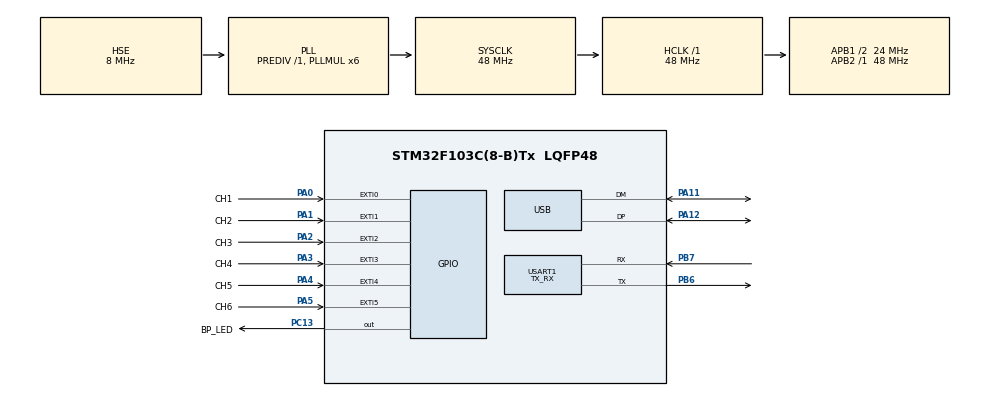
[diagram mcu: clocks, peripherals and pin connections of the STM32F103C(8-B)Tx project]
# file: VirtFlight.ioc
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Mcu.Family=STM32F1
Mcu.Name=STM32F103C(8-B)Tx
Mcu.Package=LQFP48
NVIC.EXTI0_IRQn=true\:0\:0\:false\:false\:true\:true\:true
NVIC.EXTI1_IRQn=true\:0\:0\:false\:false\:true\:true\:true
NVIC.EXTI2_IRQn=true\:0\:0\:false\:false\:true\:true\:true
NVIC.EXTI3_IRQn=true\:0\:0\:false\:false\:true\:true\:true
NVIC.EXTI4_IRQn=true\:0\:0\:false\:false\:true\:true\:true
NVIC.EXTI9_5_IRQn=true\:0\:0\:false\:false\:true\:true\:true
NVIC.PriorityGroup=NVIC_PRIORITYGROUP_4
NVIC.USART1_IRQn=true\:0\:0\:false\:false\:true\:true\:true
NVIC.USB_LP_CAN1_RX0_IRQn=true\:0\:0\:false\:false\:true\:false\:true
PA0-WKUP.GPIO_Label=CH1
PA0-WKUP.GPIO_ModeDefaultEXTI=GPIO_MODE_IT_RISING_FALLING
PA0-WKUP.GPIO_PuPd=GPIO_PULLDOWN
PA0-WKUP.Signal=GPXTI0
PA1.GPIO_Label=CH2
PA1.GPIO_ModeDefaultEXTI=GPIO_MODE_IT_RISING_FALLING
PA1.GPIO_PuPd=GPIO_PULLDOWN
PA1.Signal=GPXTI1
PA11.Mode=Device
PA11.Signal=USB_DM
PA12.Mode=Device
PA12.Signal=USB_DP
PA13.Mode=Serial_Wire
PA13.Signal=SYS_JTMS-SWDIO
PA14.Mode=Serial_Wire
PA14.Signal=SYS_JTCK-SWCLK
PA2.GPIO_Label=CH3
PA2.GPIO_ModeDefaultEXTI=GPIO_MODE_IT_RISING_FALLING
PA2.GPIO_PuPd=GPIO_PULLDOWN
PA2.Signal=GPXTI2
PA3.GPIO_Label=CH4
PA3.GPIO_ModeDefaultEXTI=GPIO_MODE_IT_RISING_FALLING
PA3.GPIO_PuPd=GPIO_PULLDOWN
PA3.Signal=GPXTI3
PA4.GPIO_Label=CH5
PA4.GPIO_ModeDefaultEXTI=GPIO_MODE_IT_RISING_FALLING
PA4.GPIO_PuPd=GPIO_PULLDOWN
PA4.Signal=GPXTI4
PA5.GPIO_Label=CH6
PA5.GPIO_ModeDefaultEXTI=GPIO_MODE_IT_RISING_FALLING
PA5.GPIO_PuPd=GPIO_PULLDOWN
PA5.Signal=GPXTI5
PB6.Mode=Asynchronous
PB6.Signal=USART1_TX
PB7.Mode=Asynchronous
PB7.Signal=USART1_RX
PC13-TAMPER-RTC.GPIO_Label=BP_LED
PC13-TAMPER-RTC.Signal=GPIO_Output
PD0-OSC_IN.Mode=HSE-External-Oscillator
PD0-OSC_IN.Signal=RCC_OSC_IN
PD1-OSC_OUT.Mode=HSE-External-Oscillator
PD1-OSC_OUT.Signal=RCC_OSC_OUT
ProjectManager.HeapSize=0x200
ProjectManager.StackSize=0x400
ProjectManager.TargetToolchain=Makefile
RCC.AHBFreq_Value=48000000
RCC.APB1CLKDivider=RCC_HCLK_DIV2
RCC.APB1Freq_Value=24000000
RCC.APB1TimFreq_Value=48000000
RCC.APB2Freq_Value=48000000
RCC.APB2TimFreq_Value=48000000
RCC.HCLKFreq_Value=48000000
RCC.PLLMUL=RCC_PLL_MUL6
RCC.PLLSourceVirtual=RCC_PLLSOURCE_HSE
RCC.SYSCLKFreq_VALUE=48000000
RCC.SYSCLKSource=RCC_SYSCLKSOURCE_PLLCLK
RCC.USBFreq_Value=48000000
TIM2.Period=0xffff
TIM2.Prescaler=47999
TIM3.Period=0xffff
TIM3.Prescaler=11
USART1.Mode=MODE_TX_RX
USART1.VirtualMode=VM_ASYNC
USB_DEVICE.CLASS_NAME_FS=HID
USB_DEVICE.MANUFACTURER_STRING=RP
USB_DEVICE.PRODUCT_STRING_HID_FS=VirtFlight
USB_DEVICE.VirtualMode=Hid
USB_DEVICE.VirtualModeFS=Hid_FS
VP_TIM2_VS_ClockSourceINT.Mode=Internal
VP_TIM3_VS_ClockSourceINT.Mode=Internal
VP_USB_DEVICE_VS_USB_DEVICE_HID_FS.Mode=HID_FS
board=custom

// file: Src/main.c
/* USER CODE BEGIN Header */
/**
  ******************************************************************************
  * @file           : main.c
  * @brief          : Main program body
  ******************************************************************************
  * @attention
  *
  * <h2><center>&copy; Copyright (c) 2020 STMicroelectronics.
  * All rights reserved.</center></h2>
  *
  * This software component is licensed by ST under Ultimate Liberty license
  * SLA0044, the "License"; You may not use this file except in compliance with
  * the License. You may obtain a copy of the License at:
  *                             www.st.com/SLA0044
  *
  ******************************************************************************
  */
/* USER CODE END Header */

#include "main.h"
#include "usb_device.h"

/* USER CODE BEGIN Includes */
#include "usbd_hid.h"
#include "stm32_hal_legacy.h"
#include "ibus.h"
/* USER CODE END Includes */

TIM_HandleTypeDef htim2;
TIM_HandleTypeDef htim3;

UART_HandleTypeDef huart1;

/* USER CODE BEGIN PV */
extern USBD_HandleTypeDef hUsbDeviceFS;

/* USER CODE END PV */

void SystemClock_Config(void);
static void MX_GPIO_Init(void);
static void MX_TIM3_Init(void);
static void MX_TIM2_Init(void);
static void MX_USART1_UART_Init(void);

/* USER CODE BEGIN 0 */

typedef uint16_t channel_t;

struct pwm {
	uint16_t       pin;
	GPIO_TypeDef   *port;
	channel_t      *channel;
	uint16_t       rising_cnt;
};

enum ppm_state {
	PPM_SYNCING_INIT, /* Waits for the first falling or rising edge */
	PPM_SYNCING,      /* Waits for long delay between impulses */
	PPM_COUNTING,     /* Counts channels */
	PPM_READY         /* PPM ready */
};

enum {
	PPM_IDLE_MS = 4,  /* Pause between PPM frames */
	NO_INPUT_MS = 20, /* If transmitter is off */

	NR_AXIS     = 10, /* How many axis joystick supports */
	NR_CHANNELS = 10, /* How many channels do we handle */
	NR_PWM_PINS = 6,  /* How many PWM pins do we have */
};

struct ppm {
	uint16_t       pin;
	GPIO_TypeDef   *port;
	channel_t      *channels;
	unsigned int   nr_channels;
	unsigned int   nr_edges;

	enum ppm_state state;
	uint16_t       edge_ms;
	uint16_t       edge_cnt;
};

enum input_state {
	PROBING,
	PPM_INPUT,
	PWM_INPUT,
	IBUS_INPUT,
	UNKNOWN_INPUT,
};

struct input {
	enum input_state state;
	struct pwm       pwm_pins[NR_PWM_PINS];
	struct ppm       ppm_pin;
	struct ibus      ibus;
	uint16_t         last_input_ms;
};

static channel_t channels[NR_CHANNELS];

static struct input input = {
	.state = PROBING,
	.pwm_pins = {
		[0] = {.pin = CH1_Pin, .port = CH1_GPIO_Port, .channel = &channels[0]},
		[1] = {.pin = CH2_Pin, .port = CH2_GPIO_Port, .channel = &channels[1]},
		[2] = {.pin = CH3_Pin, .port = CH3_GPIO_Port, .channel = &channels[2]},
		[3] = {.pin = CH4_Pin, .port = CH4_GPIO_Port, .channel = &channels[3]},
		[4] = {.pin = CH5_Pin, .port = CH5_GPIO_Port, .channel = &channels[4]},
		[5] = {.pin = CH6_Pin, .port = CH6_GPIO_Port, .channel = &channels[5]},
	},
	.ppm_pin = {
		.pin          = CH1_Pin,
		.port         = CH1_GPIO_Port,
		.channels     = channels,
		.nr_channels  = NR_CHANNELS,
	},
};

static inline void set_channel_width(channel_t *ch, uint16_t width)
{
	/* Clamp to [0, 4095] */
	if (width < 3900) {
		width = 0;
	} else {
		width -= 3900;
		if (width > 4095)
			width = 4095;
	}

	*ch = width;
}

static void handle_pwm_input(uint16_t pin)
{
	uint16_t cnt;
	int i;

	cnt = __HAL_TIM_GetCounter(&htim3);

	for (i = 0; i < NR_PWM_PINS; i++) {
		struct pwm *pwm = &input.pwm_pins[i];

		if (pwm->pin != pin)
			continue;

		if (HAL_GPIO_ReadPin(pwm->port, pwm->pin)) {
			pwm->rising_cnt = cnt;
		} else {
			/* Update channel */
			uint16_t width = cnt - pwm->rising_cnt;
			set_channel_width(pwm->channel, width);
		}
	}
}

static void handle_ppm_input(uint16_t pin)
{
	struct ppm *ppm = &input.ppm_pin;
	uint16_t diff_ms, cnt, ms;

	if (ppm->pin != pin)
		/* Not a PPM pin, just ignore */
		return;

	ms = __HAL_TIM_GetCounter(&htim2);
	cnt = __HAL_TIM_GetCounter(&htim3);

	switch (ppm->state) {
	case PPM_SYNCING_INIT:
		ppm->edge_ms = ms;
		ppm->state = PPM_SYNCING;
		break;
	case PPM_SYNCING:
		diff_ms = ms - ppm->edge_ms;
		ppm->edge_ms = ms;

		if (diff_ms < PPM_IDLE_MS)
			break;

		/* Got long enough idle, now count channels */
		ppm->nr_edges = 0;
		ppm->state = PPM_COUNTING;
		break;
	case PPM_COUNTING:
		diff_ms = ms - ppm->edge_ms;
		ppm->edge_ms = ms;
		ppm->nr_edges += 1;

		if (diff_ms < PPM_IDLE_MS)
			break;

		/* Got long enough idle, now decide what input we have */

		if (ppm->nr_edges & 1) {
			/* Can't be odd for any input */
			input.state = UNKNOWN_INPUT;
			ppm->state = PPM_SYNCING_INIT;
			break;
		}
		if (ppm->nr_edges == 2) {
			input.state = PWM_INPUT;
			ppm->state = PPM_SYNCING_INIT;
			break;
		}
		input.state = PPM_INPUT;
		ppm->state = PPM_READY;
		ppm->nr_edges = 0;
		ppm->edge_cnt = cnt;
		break;

	case PPM_READY:
		diff_ms = ms - ppm->edge_ms;
		ppm->edge_ms = ms;
		ppm->nr_edges += 1;

		if (diff_ms >= PPM_IDLE_MS) {
			ppm->nr_edges = 0;
			ppm->edge_cnt = cnt;
			break;
		}
		if (ppm->nr_edges % 2) {
			int i_ch = (ppm->nr_edges / 2) - 1;
			if (i_ch < ppm->nr_channels) {
				uint16_t width = cnt - ppm->edge_cnt;
				set_channel_width(&ppm->channels[i_ch], width);
			}
			ppm->edge_cnt = cnt;
			break;
		}
		break;

	default:
		Error_Handler();
		break;
	}
}

static void reset_input_to_probing(void)
{
	input.state = PROBING;
	input.ppm_pin.state = PPM_SYNCING_INIT;
};

static void check_no_input(void)
{
	uint16_t cnt_ms = __HAL_TIM_GetCounter(&htim2);

	/* Switch back to PROBING if no input has happened */
	if (input.state != PROBING) {
		uint16_t diff_ms = cnt_ms - input.last_input_ms;
		if (diff_ms >= NO_INPUT_MS)
			reset_input_to_probing();
	}
	input.last_input_ms = cnt_ms;
}

void HAL_GPIO_EXTI_Callback(uint16_t pin)
{
	check_no_input();

	switch (input.state) {
	case PROBING:
	case PPM_INPUT:
		handle_ppm_input(pin);
		break;
	case PWM_INPUT:
		handle_pwm_input(pin);
		break;
	default:
		break;
	}
}

void HAL_UART_RxCpltCallback(UART_HandleTypeDef *huart)
{
	check_no_input();

	switch (input.state) {
	case PROBING:
		input.state = IBUS_INPUT;
		ibus_init(&input.ibus, huart);
		/* fallthrough */
	case IBUS_INPUT:
		handle_ibus_input(&input.ibus);
		break;
	default:
		break;
	}
}

static void USBD_HID_WaitForSend(USBD_HandleTypeDef *dev)
{
	volatile USBD_HID_HandleTypeDef *hhid =
		(volatile USBD_HID_HandleTypeDef *)dev->pClassData;

	while (hhid->state == HID_BUSY)
		;
}

struct joystick_report {
	uint8_t  report_id;
	uint16_t axis[NR_AXIS];
	uint8_t  buttons:3;
	uint8_t  padding:5;
} __attribute__((packed));

static void fill_channels_from_ibus(struct ibus *ibus,
									channel_t *channels,
									size_t nr)
{
	int i;

	ibus_get_channels(ibus, channels, nr);

	/* Normalize to [0, 4000] */
	for (i = 0; i < nr; i++) {
		channel_t ch = channels[i];

		ch  = ch < 1000 ? 0 : ch - 1000;
		ch *= 4;
		ch  = ch > 4000 ? 4000 : ch;
		channels[i] = ch;
	}
}

static void Send_JoystickReport(void)
{
	  struct joystick_report joystick = {
		  .report_id = HID_JOYSTICK_REPORT_ID
	  };
	  int i, nr;

	  if (input.state == IBUS_INPUT)
		  fill_channels_from_ibus(&input.ibus, channels, NR_CHANNELS);

	  nr = NR_AXIS < NR_CHANNELS ? NR_AXIS : NR_CHANNELS;
	  for (i = 0; i < nr; i++)
		  joystick.axis[i] = channels[i];

	  USBD_HID_WaitForSend(&hUsbDeviceFS);
	  USBD_HID_SendReport(&hUsbDeviceFS, (uint8_t*)&joystick,
						  sizeof(joystick));
}

struct keyboard_report {
	uint8_t report_id;
	uint8_t keys[8];
};

static void Send_Key(uint8_t keycode)
{
	struct keyboard_report keyboard = {
		.report_id = HID_KEYBOARD_REPORT_ID
	};

	keyboard.keys[2] = keycode;

	USBD_HID_WaitForSend(&hUsbDeviceFS);
	USBD_HID_SendReport(&hUsbDeviceFS, (uint8_t*)&keyboard,
						sizeof(keyboard));
}

static void PressAndRelease_Key(channel_t *ch, uint8_t *sent,
								uint8_t keycode)
{
	if (*ch >= 1500 && !*sent) {
		/* Press a key */
		Send_Key(keycode);
		/* Release a key */
		Send_Key(0x00);

		*sent = 1;

	} else if (*ch < 1500 && *sent) {
		*sent = 0;
	}
}

static void PressOrRelease_Key(channel_t *ch, uint8_t *pressed,
							   uint8_t keycode)
{
	if (*ch >= 1500) {
		/* Press a key many times */
		Send_Key(keycode);

		*pressed = 1;

	} else if (*ch < 1500 && *pressed) {
		/* Release a key once */
		Send_Key(0x00);

		*pressed = 0;
	}
}

/*
 * We map 5'th channel for 't' key
 */
static void Handle_T_Key(void)
{
	static uint8_t t_sent;

	PressAndRelease_Key(&channels[4], &t_sent, 0x17);
}

/*
 * We map 5'th channel for 'y' key
 */
static void Handle_Y_Key(void)
{
	static uint8_t y_pressed;

	PressOrRelease_Key(&channels[4], &y_pressed, 0x1c);
}

/*
 * We map 6'th channel for 'r' key
 */
static void Handle_R_Key(void)
{
	static uint8_t r_sent;

	PressAndRelease_Key(&channels[5], &r_sent, 0x15);
}

static void Send_KeyboardReport(void)
{
	/* Either T, either Y */
	Handle_T_Key();
	(void)Handle_Y_Key;

	Handle_R_Key();
}

static void Status_Blink(void)
{
	static uint16_t prev_ms;
	static int state;
	static int init;

	uint16_t ms, diff_ms;

	if (!init) {
		prev_ms = __HAL_TIM_GetCounter(&htim2);
		init = 1;
	}
	ms = __HAL_TIM_GetCounter(&htim2);
	diff_ms = ms - prev_ms;

	switch (input.state) {
	case PROBING:
		/* short blinks */

		if (diff_ms >= 200) {
			HAL_GPIO_TogglePin(BP_LED_GPIO_Port, BP_LED_Pin);
			prev_ms = ms;
		}
		break;

	case PWM_INPUT:
		/* long blinks */

		if (diff_ms >= 1000) {
			HAL_GPIO_TogglePin(BP_LED_GPIO_Port, BP_LED_Pin);
			prev_ms = ms;
		}
		break;

	case PPM_INPUT:
	case IBUS_INPUT:
		/* PPM:  2 short blinks */
		/* IBUS: 3 short blinks */

		if (!state) {
			/* 1s off */
			HAL_GPIO_WritePin(BP_LED_GPIO_Port, BP_LED_Pin, GPIO_PIN_SET);
			state = 1;
		} else if (state == 1 && diff_ms >= 1000) {
			/* 0.2s on */
			HAL_GPIO_WritePin(BP_LED_GPIO_Port, BP_LED_Pin, GPIO_PIN_RESET);
			prev_ms = ms;
			state = 2;
		} else if ((state == 2 || state == 4) && diff_ms >= 200) {
			/* 0.2s off */
			HAL_GPIO_WritePin(BP_LED_GPIO_Port, BP_LED_Pin, GPIO_PIN_SET);
			prev_ms = ms;
			state += 1;
		} else if ((state == 3 || state == 5) && diff_ms >= 200) {
			/* 0.2s on */
			HAL_GPIO_WritePin(BP_LED_GPIO_Port, BP_LED_Pin, GPIO_PIN_RESET);
			prev_ms = ms;

			if (input.state == PPM_INPUT)
				state = 6;
			else
				state += 1;
		} else if (state == 6 && diff_ms >= 200) {
			/* repeat */
			state = 0;
			prev_ms = ms;
		}
		break;

	default:
		Error_Handler();
	}
}

/* USER CODE END 0 */

int main(void)
{

  /* MCU Configuration--------------------------------------------------------*/

  /* Reset of all peripherals, Initializes the Flash interface and the Systick. */
  HAL_Init();

  /* Configure the system clock */
  SystemClock_Config();

  /* Initialize all configured peripherals */
  MX_GPIO_Init();
  MX_USB_DEVICE_Init();
  MX_TIM3_Init();
  MX_TIM2_Init();
  MX_USART1_UART_Init();
  /* USER CODE BEGIN 2 */

  if (HAL_TIM_Base_Start(&htim3))
	  Error_Handler();

  if (HAL_TIM_Base_Start_IT(&htim2))
	  Error_Handler();

  ibus_init(&input.ibus, &huart1);

  /* USER CODE END 2 */

  /* Infinite loop */
  /* USER CODE BEGIN WHILE */

  /* Turn led off */
  HAL_GPIO_WritePin(BP_LED_GPIO_Port, BP_LED_Pin, GPIO_PIN_SET);

  while (1)
  {
    /* USER CODE END WHILE */

    /* USER CODE BEGIN 3 */
	  Send_JoystickReport();
	  /* Send_KeyboardReport(); */
	  (void)Send_KeyboardReport;
	  Status_Blink();
	  HAL_Delay(10);
  }
  /* USER CODE END 3 */
}

void SystemClock_Config(void)
{
  RCC_OscInitTypeDef RCC_OscInitStruct = {0};
  RCC_ClkInitTypeDef RCC_ClkInitStruct = {0};
  RCC_PeriphCLKInitTypeDef PeriphClkInit = {0};

  /** Initializes the CPU, AHB and APB busses clocks
  */
  RCC_OscInitStruct.OscillatorType = RCC_OSCILLATORTYPE_HSE;
  RCC_OscInitStruct.HSEState = RCC_HSE_ON;
  RCC_OscInitStruct.HSEPredivValue = RCC_HSE_PREDIV_DIV1;
  RCC_OscInitStruct.HSIState = RCC_HSI_ON;
  RCC_OscInitStruct.PLL.PLLState = RCC_PLL_ON;
  RCC_OscInitStruct.PLL.PLLSource = RCC_PLLSOURCE_HSE;
  RCC_OscInitStruct.PLL.PLLMUL = RCC_PLL_MUL6;
  if (HAL_RCC_OscConfig(&RCC_OscInitStruct) != HAL_OK)
  {
    Error_Handler();
  }
  /** Initializes the CPU, AHB and APB busses clocks
  */
  RCC_ClkInitStruct.ClockType = RCC_CLOCKTYPE_HCLK|RCC_CLOCKTYPE_SYSCLK
                              |RCC_CLOCKTYPE_PCLK1|RCC_CLOCKTYPE_PCLK2;
  RCC_ClkInitStruct.SYSCLKSource = RCC_SYSCLKSOURCE_PLLCLK;
  RCC_ClkInitStruct.AHBCLKDivider = RCC_SYSCLK_DIV1;
  RCC_ClkInitStruct.APB1CLKDivider = RCC_HCLK_DIV2;
  RCC_ClkInitStruct.APB2CLKDivider = RCC_HCLK_DIV1;

  if (HAL_RCC_ClockConfig(&RCC_ClkInitStruct, FLASH_LATENCY_1) != HAL_OK)
  {
    Error_Handler();
  }
  PeriphClkInit.PeriphClockSelection = RCC_PERIPHCLK_USB;
  PeriphClkInit.UsbClockSelection = RCC_USBCLKSOURCE_PLL;
  if (HAL_RCCEx_PeriphCLKConfig(&PeriphClkInit) != HAL_OK)
  {
    Error_Handler();
  }
}

static void MX_TIM2_Init(void)
{

  TIM_ClockConfigTypeDef sClockSourceConfig = {0};
  TIM_MasterConfigTypeDef sMasterConfig = {0};

  htim2.Instance = TIM2;
  htim2.Init.Prescaler = 47999;
  htim2.Init.CounterMode = TIM_COUNTERMODE_UP;
  htim2.Init.Period = 0xffff;
  htim2.Init.ClockDivision = TIM_CLOCKDIVISION_DIV1;
  htim2.Init.AutoReloadPreload = TIM_AUTORELOAD_PRELOAD_DISABLE;
  if (HAL_TIM_Base_Init(&htim2) != HAL_OK)
  {
    Error_Handler();
  }
  sClockSourceConfig.ClockSource = TIM_CLOCKSOURCE_INTERNAL;
  if (HAL_TIM_ConfigClockSource(&htim2, &sClockSourceConfig) != HAL_OK)
  {
    Error_Handler();
  }
  sMasterConfig.MasterOutputTrigger = TIM_TRGO_RESET;
  sMasterConfig.MasterSlaveMode = TIM_MASTERSLAVEMODE_DISABLE;
  if (HAL_TIMEx_MasterConfigSynchronization(&htim2, &sMasterConfig) != HAL_OK)
  {
    Error_Handler();
  }

}

static void MX_TIM3_Init(void)
{

  TIM_ClockConfigTypeDef sClockSourceConfig = {0};
  TIM_MasterConfigTypeDef sMasterConfig = {0};

  htim3.Instance = TIM3;
  htim3.Init.Prescaler = 11;
  htim3.Init.CounterMode = TIM_COUNTERMODE_UP;
  htim3.Init.Period = 0xffff;
  htim3.Init.ClockDivision = TIM_CLOCKDIVISION_DIV1;
  htim3.Init.AutoReloadPreload = TIM_AUTORELOAD_PRELOAD_DISABLE;
  if (HAL_TIM_Base_Init(&htim3) != HAL_OK)
  {
    Error_Handler();
  }
  sClockSourceConfig.ClockSource = TIM_CLOCKSOURCE_INTERNAL;
  if (HAL_TIM_ConfigClockSource(&htim3, &sClockSourceConfig) != HAL_OK)
  {
    Error_Handler();
  }
  sMasterConfig.MasterOutputTrigger = TIM_TRGO_RESET;
  sMasterConfig.MasterSlaveMode = TIM_MASTERSLAVEMODE_DISABLE;
  if (HAL_TIMEx_MasterConfigSynchronization(&htim3, &sMasterConfig) != HAL_OK)
  {
    Error_Handler();
  }

}

static void MX_USART1_UART_Init(void)
{

  huart1.Instance = USART1;
  huart1.Init.BaudRate = 115200;
  huart1.Init.WordLength = UART_WORDLENGTH_8B;
  huart1.Init.StopBits = UART_STOPBITS_1;
  huart1.Init.Parity = UART_PARITY_NONE;
  huart1.Init.Mode = UART_MODE_TX_RX;
  huart1.Init.HwFlowCtl = UART_HWCONTROL_NONE;
  huart1.Init.OverSampling = UART_OVERSAMPLING_16;
  if (HAL_UART_Init(&huart1) != HAL_OK)
  {
    Error_Handler();
  }

}

static void MX_GPIO_Init(void)
{
  GPIO_InitTypeDef GPIO_InitStruct = {0};

  /* GPIO Ports Clock Enable */
  __HAL_RCC_GPIOC_CLK_ENABLE();
  __HAL_RCC_GPIOD_CLK_ENABLE();
  __HAL_RCC_GPIOA_CLK_ENABLE();
  __HAL_RCC_GPIOB_CLK_ENABLE();

  /*Configure GPIO pin Output Level */
  HAL_GPIO_WritePin(BP_LED_GPIO_Port, BP_LED_Pin, GPIO_PIN_RESET);

  /*Configure GPIO pin : BP_LED_Pin */
  GPIO_InitStruct.Pin = BP_LED_Pin;
  GPIO_InitStruct.Mode = GPIO_MODE_OUTPUT_PP;
  GPIO_InitStruct.Pull = GPIO_NOPULL;
  GPIO_InitStruct.Speed = GPIO_SPEED_FREQ_LOW;
  HAL_GPIO_Init(BP_LED_GPIO_Port, &GPIO_InitStruct);

  /*Configure GPIO pins : CH1_Pin CH2_Pin CH3_Pin CH4_Pin
                           CH5_Pin CH6_Pin */
  GPIO_InitStruct.Pin = CH1_Pin|CH2_Pin|CH3_Pin|CH4_Pin
                          |CH5_Pin|CH6_Pin;
  GPIO_InitStruct.Mode = GPIO_MODE_IT_RISING_FALLING;
  GPIO_InitStruct.Pull = GPIO_PULLDOWN;
  HAL_GPIO_Init(GPIOA, &GPIO_InitStruct);

  /* EXTI interrupt init*/
  HAL_NVIC_SetPriority(EXTI0_IRQn, 0, 0);
  HAL_NVIC_EnableIRQ(EXTI0_IRQn);

  HAL_NVIC_SetPriority(EXTI1_IRQn, 0, 0);
  HAL_NVIC_EnableIRQ(EXTI1_IRQn);

  HAL_NVIC_SetPriority(EXTI2_IRQn, 0, 0);
  HAL_NVIC_EnableIRQ(EXTI2_IRQn);

  HAL_NVIC_SetPriority(EXTI3_IRQn, 0, 0);
  HAL_NVIC_EnableIRQ(EXTI3_IRQn);

  HAL_NVIC_SetPriority(EXTI4_IRQn, 0, 0);
  HAL_NVIC_EnableIRQ(EXTI4_IRQn);

  HAL_NVIC_SetPriority(EXTI9_5_IRQn, 0, 0);
  HAL_NVIC_EnableIRQ(EXTI9_5_IRQn);

}

void Error_Handler(void)
{
  /* USER CODE BEGIN Error_Handler_Debug */
	while (1) {
		/* Fast blinking means error */
		HAL_GPIO_TogglePin(BP_LED_GPIO_Port, BP_LED_Pin);
		HAL_Delay(70);
	}
  /* USER CODE END Error_Handler_Debug */
}

/************************ (C) COPYRIGHT STMicroelectronics *****END OF FILE****/
